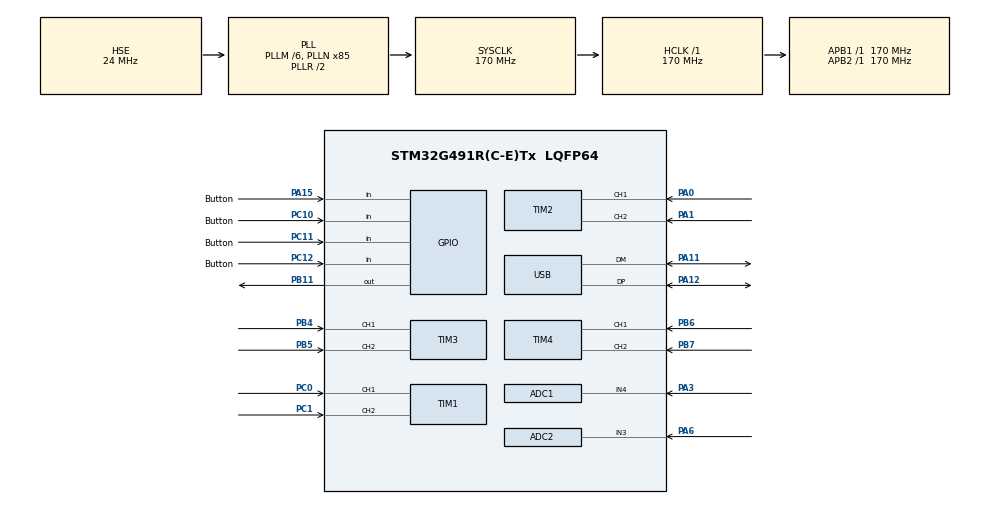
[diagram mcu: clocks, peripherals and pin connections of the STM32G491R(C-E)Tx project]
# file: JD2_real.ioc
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ADC1.Channel-6\#ChannelRegularConversion=ADC_CHANNEL_4
ADC1.ContinuousConvMode=DISABLE
ADC1.DMAContinuousRequests=ENABLE
ADC1.EOCSelection=ADC_EOC_SEQ_CONV
ADC1.ExternalTrigConv=ADC_EXTERNALTRIG_T6_TRGO
ADC1.NbrOfConversionFlag=1
ADC1.OffsetNumber-6\#ChannelRegularConversion=ADC_OFFSET_NONE
ADC1.Overrun=ADC_OVR_DATA_OVERWRITTEN
ADC1.Rank-6\#ChannelRegularConversion=1
ADC1.SamplingTime-6\#ChannelRegularConversion=ADC_SAMPLETIME_2CYCLES_5
ADC1.master=1
ADC2.Channel-4\#ChannelRegularConversion=ADC_CHANNEL_3
ADC2.ContinuousConvMode=DISABLE
ADC2.DMAContinuousRequests=ENABLE
ADC2.EOCSelection=ADC_EOC_SEQ_CONV
ADC2.ExternalTrigConv=ADC_EXTERNALTRIG_T6_TRGO
ADC2.NbrOfConversionFlag=1
ADC2.OffsetNumber-4\#ChannelRegularConversion=ADC_OFFSET_NONE
ADC2.Overrun=ADC_OVR_DATA_OVERWRITTEN
ADC2.Rank-4\#ChannelRegularConversion=1
ADC2.SamplingTime-4\#ChannelRegularConversion=ADC_SAMPLETIME_2CYCLES_5
Dma.ADC1.0.Direction=DMA_PERIPH_TO_MEMORY
Dma.ADC1.0.EventEnable=DISABLE
Dma.ADC1.0.Instance=DMA1_Channel1
Dma.ADC1.0.MemDataAlignment=DMA_MDATAALIGN_HALFWORD
Dma.ADC1.0.MemInc=DMA_MINC_ENABLE
Dma.ADC1.0.Mode=DMA_CIRCULAR
Dma.ADC1.0.PeriphDataAlignment=DMA_PDATAALIGN_HALFWORD
Dma.ADC1.0.PeriphInc=DMA_PINC_DISABLE
Dma.ADC1.0.Polarity=HAL_DMAMUX_REQ_GEN_RISING
Dma.ADC1.0.Priority=DMA_PRIORITY_LOW
Dma.ADC1.0.RequestNumber=1
Dma.ADC1.0.SignalID=NONE
Dma.ADC1.0.SyncEnable=DISABLE
Dma.ADC1.0.SyncPolarity=HAL_DMAMUX_SYNC_NO_EVENT
Dma.ADC1.0.SyncRequestNumber=1
Dma.ADC1.0.SyncSignalID=NONE
Dma.ADC2.1.Direction=DMA_PERIPH_TO_MEMORY
Dma.ADC2.1.EventEnable=DISABLE
Dma.ADC2.1.Instance=DMA1_Channel2
Dma.ADC2.1.MemDataAlignment=DMA_MDATAALIGN_HALFWORD
Dma.ADC2.1.MemInc=DMA_MINC_ENABLE
Dma.ADC2.1.Mode=DMA_CIRCULAR
Dma.ADC2.1.PeriphDataAlignment=DMA_PDATAALIGN_HALFWORD
Dma.ADC2.1.PeriphInc=DMA_PINC_DISABLE
Dma.ADC2.1.Polarity=HAL_DMAMUX_REQ_GEN_RISING
Dma.ADC2.1.Priority=DMA_PRIORITY_LOW
Dma.ADC2.1.RequestNumber=1
Dma.ADC2.1.SignalID=NONE
Dma.ADC2.1.SyncEnable=DISABLE
Dma.ADC2.1.SyncPolarity=HAL_DMAMUX_SYNC_NO_EVENT
Dma.ADC2.1.SyncRequestNumber=1
Dma.ADC2.1.SyncSignalID=NONE
Dma.Request0=ADC1
Dma.Request1=ADC2
Mcu.Family=STM32G4
Mcu.Name=STM32G491R(C-E)Tx
Mcu.Package=LQFP64
NVIC.DMA1_Channel1_IRQn=true\:0\:0\:false\:false\:true\:false\:true\:true
NVIC.DMA1_Channel2_IRQn=true\:0\:0\:false\:false\:true\:false\:true\:true
NVIC.PriorityGroup=NVIC_PRIORITYGROUP_4
NVIC.USB_LP_IRQn=true\:0\:0\:false\:false\:true\:false\:true\:true
PA0.GPIO_PuPd=GPIO_PULLUP
PA0.GPIO_Speed=GPIO_SPEED_FREQ_MEDIUM
PA0.Signal=S_TIM2_CH1
PA1.GPIO_PuPd=GPIO_PULLUP
PA1.GPIO_Speed=GPIO_SPEED_FREQ_MEDIUM
PA1.Signal=S_TIM2_CH2
PA11.Mode=Device
PA11.Signal=USB_DM
PA12.Mode=Device
PA12.Signal=USB_DP
PA13.Mode=Serial_Wire
PA13.Signal=SYS_JTMS-SWDIO
PA14.Mode=Serial_Wire
PA14.Signal=SYS_JTCK-SWCLK
PA15.GPIO_Label=Button
PA15.GPIO_Mode=GPIO_MODE_INPUT
PA15.GPIO_PuPd=GPIO_PULLUP
PA15.Signal=GPIO_Input
PA3.Mode=IN4-Single-Ended
PA3.Signal=ADC1_IN4
PA6.Mode=IN3-Single-Ended
PA6.Signal=ADC2_IN3
PB11.GPIO_PuPd=GPIO_PULLUP
PB11.PinState=GPIO_PIN_SET
PB11.Signal=GPIO_Output
PB4.GPIO_PuPd=GPIO_PULLUP
PB4.GPIO_Speed=GPIO_SPEED_FREQ_MEDIUM
PB4.Signal=S_TIM3_CH1
PB5.GPIO_PuPd=GPIO_PULLUP
PB5.GPIO_Speed=GPIO_SPEED_FREQ_MEDIUM
PB5.Signal=S_TIM3_CH2
PB6.GPIO_PuPd=GPIO_PULLUP
PB6.Signal=S_TIM4_CH1
PB7.GPIO_PuPd=GPIO_PULLUP
PB7.Signal=S_TIM4_CH2
PC0.GPIO_PuPd=GPIO_PULLUP
PC0.Signal=S_TIM1_CH1
PC1.GPIO_PuPd=GPIO_PULLUP
PC1.Signal=S_TIM1_CH2
PC10.GPIO_Label=Button
PC10.GPIO_Mode=GPIO_MODE_INPUT
PC10.GPIO_PuPd=GPIO_PULLUP
PC10.Signal=GPIO_Input
PC11.GPIO_Label=Button
PC11.GPIO_Mode=GPIO_MODE_INPUT
PC11.GPIO_PuPd=GPIO_PULLUP
PC11.Signal=GPIO_Input
PC12.GPIO_Label=Button
PC12.GPIO_Mode=GPIO_MODE_INPUT
PC12.GPIO_PuPd=GPIO_PULLUP
PC12.Signal=GPIO_Input
PF0-OSC_IN.Mode=HSE-External-Oscillator
PF0-OSC_IN.Signal=RCC_OSC_IN
PF1-OSC_OUT.Mode=HSE-External-Oscillator
PF1-OSC_OUT.Signal=RCC_OSC_OUT
ProjectManager.HeapSize=0x200
ProjectManager.StackSize=0x400
ProjectManager.TargetToolchain=CMake
RCC.ADC12Freq_Value=170000000
RCC.ADC345Freq_Value=170000000
RCC.AHBFreq_Value=170000000
RCC.APB1Freq_Value=170000000
RCC.APB1TimFreq_Value=170000000
RCC.APB2Freq_Value=170000000
RCC.APB2TimFreq_Value=170000000
RCC.CortexFreq_Value=170000000
RCC.EXTERNAL_CLOCK_VALUE=12288000
RCC.HCLKFreq_Value=170000000
RCC.HSE_VALUE=24000000
RCC.HSI48_VALUE=48000000
RCC.HSI_VALUE=16000000
RCC.LSE_VALUE=32768
RCC.PLLM=RCC_PLLM_DIV6
RCC.PLLN=85
RCC.PLLSourceVirtual=RCC_PLLSOURCE_HSE
RCC.SYSCLKFreq_VALUE=170000000
RCC.SYSCLKSource=RCC_SYSCLKSOURCE_PLLCLK
RCC.VCOOutputFreq_Value=340000000
SH.S_TIM1_CH1.0=TIM1_CH1,Encoder_Interface
SH.S_TIM1_CH2.0=TIM1_CH2,Encoder_Interface
SH.S_TIM2_CH1.0=TIM2_CH1,Encoder_Interface
SH.S_TIM2_CH2.0=TIM2_CH2,Encoder_Interface
SH.S_TIM3_CH1.0=TIM3_CH1,Encoder_Interface
SH.S_TIM3_CH2.0=TIM3_CH2,Encoder_Interface
SH.S_TIM4_CH1.0=TIM4_CH1,Encoder_Interface
SH.S_TIM4_CH2.0=TIM4_CH2,Encoder_Interface
TIM6.TIM_MasterOutputTrigger=TIM_TRGO_UPDATE
USB_DEVICE.CLASS_NAME_FS=CDC
USB_DEVICE.VirtualMode=Cdc
USB_DEVICE.VirtualModeFS=Cdc_FS
VP_SYS_VS_DBSignals.Mode=DisableDeadBatterySignals
VP_TIM6_VS_ClockSourceINT.Mode=Enable_Timer
VP_USB_DEVICE_VS_USB_DEVICE_CDC_FS.Mode=CDC_FS
board=custom

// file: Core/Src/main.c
/* USER CODE BEGIN Header */
/**
 ******************************************************************************
 * @file           : main.c
 * @brief          : Main program body
 ******************************************************************************
 * @attention
 *
 * Copyright (c) 2026 STMicroelectronics.
 * All rights reserved.
 *
 * This software is licensed under terms that can be found in the LICENSE file
 * in the root directory of this software component.
 * If no LICENSE file comes with this software, it is provided AS-IS.
 *
 ******************************************************************************
 */
/* USER CODE END Header */
#include "main.h"
#include "adc.h"
#include "dma.h"
#include "gpio.h"
#include "tim.h"
#include "usb_device.h"

/* USER CODE BEGIN Includes */
#include "buttons.h"
#include "scope_stream.h"
#include "usbd_cdc_if.h"
#include <encoder.h>
#include <stdbool.h>
#include <stdint.h>
#include <stdio.h>
#include <stdlib.h>
#include <stm32g4xx_hal.h>
#include <string.h>
/* USER CODE END Includes */

/* USER CODE BEGIN PV */
static const uint32_t kVdivOptions_mV[] = {100U,  200U,  500U,  1000U,
                                           2000U, 5000U, 10000U};
static const uint32_t kSdivOptions_ns[] = {
    1000U,     2000U,     5000U,     10000U,    20000U,   50000U,
    100000U,   200000U,   500000U,   1000000U,  2000000U, 5000000U,
    10000000U, 20000000U, 50000000U, 100000000U};
static const uint32_t kAdcFastSampleRateHz = 2833333U;
static const uint32_t kAdcMinSampleRateHz = 1000U;

static scope_cfg_t g_scope_cfg = {
    .ch1_enabled = 1U,
    .ch2_enabled = 1U,
    .ch1_vdiv_idx = 2U, // 1.00 V/div
    .ch2_vdiv_idx = 2U, // 1.00 V/div
    .sdiv_idx = 4U,     // 20 us/div
    // Trigger bytes: each encoder step maps to 16 ADC codes, so 0..255 ->
    // 0..4080.
    .trig_ch1_idx = 128U,
    .trig_ch2_idx = 128U,
    .trig_src = 0U, // start with CH1 trigger selected
};

static bool g_scope_cfg_dirty = true;
static bool g_btn1_prev = false;
static bool g_btn2_prev = false;
static bool g_btn4_prev = false;

static uint32_t s_last_heartbeat_ms = 0U;
static uint32_t lastPoll = 0;
static uint8_t s_last_sdiv_applied = 0xFFU;

/* USER CODE END PV */

void SystemClock_Config(void);

/* USER CODE BEGIN 0 */
// Apply a signed encoder delta to a menu index and clamp to valid bounds.
static int clamp_idx_with_delta(int current, int delta, int min, int max) {
  int next = current + delta;
  if (next < min) {
    next = min;
  } else if (next > max) {
    next = max;
  }
  return next;
}

// Return the TIM6 kernel clock frequency used to generate TRGO update events.
static uint32_t ScopeCtl_GetTim6ClockHz(void) {
  uint32_t pclk1 = HAL_RCC_GetPCLK1Freq();
  uint32_t ppre1_bits = RCC->CFGR & RCC_CFGR_PPRE1;
  if (ppre1_bits != RCC_CFGR_PPRE1_DIV1) {
    return pclk1 * 2U;
  }
  return pclk1;
}

// Choose an ADC trigger sample rate for current S/div:
// - keep max speed at fast timebases,
// - slow down at wide timebases so 10 divisions fit DMA history.
static uint32_t ScopeCtl_ComputeTargetSampleRateHz(uint8_t sdiv_idx) {
  uint64_t total_ns;
  uint64_t max_fit_rate;
  uint32_t target;

  if (sdiv_idx >= (sizeof(kSdivOptions_ns) / sizeof(kSdivOptions_ns[0]))) {
    sdiv_idx =
        (uint8_t)((sizeof(kSdivOptions_ns) / sizeof(kSdivOptions_ns[0])) - 1U);
  }
  total_ns = (uint64_t)kSdivOptions_ns[sdiv_idx] * 10ULL;
  max_fit_rate =
      ((uint64_t)SCOPE_STREAM_ADC_BUFFER_SAMPLES * 1000000000ULL) / total_ns;

  target = kAdcFastSampleRateHz;
  if (max_fit_rate < (uint64_t)target) {
    target = (uint32_t)max_fit_rate;
  }
  if (target < kAdcMinSampleRateHz) {
    target = kAdcMinSampleRateHz;
  }
  return target;
}

// Apply TIM6 PSC/ARR for a target ADC trigger rate and publish achieved rate
// to the stream module so time-span math remains accurate.
static void ScopeCtl_ApplyAdcSampleRateHz(uint32_t target_hz) {
  uint32_t tim_clk_hz;
  uint32_t psc_plus1;
  uint32_t arr_plus1;
  uint32_t achieved_hz;
  uint64_t denom;

  if (target_hz == 0U) {
    return;
  }

  tim_clk_hz = ScopeCtl_GetTim6ClockHz();
  denom = (uint64_t)target_hz * 65536ULL;
  psc_plus1 = (uint32_t)((((uint64_t)tim_clk_hz + denom - 1ULL) / denom));
  if (psc_plus1 < 1U) {
    psc_plus1 = 1U;
  }
  if (psc_plus1 > 65536U) {
    psc_plus1 = 65536U;
  }

  denom = (uint64_t)target_hz * (uint64_t)psc_plus1;
  arr_plus1 = (uint32_t)((((uint64_t)tim_clk_hz + denom - 1ULL) / denom));
  if (arr_plus1 < 2U) {
    arr_plus1 = 2U;
  }
  if (arr_plus1 > 65536U) {
    arr_plus1 = 65536U;
  }

  HAL_TIM_Base_Stop(&htim6);
  __HAL_TIM_SET_PRESCALER(&htim6, (uint32_t)(psc_plus1 - 1U));
  __HAL_TIM_SET_AUTORELOAD(&htim6, (uint32_t)(arr_plus1 - 1U));
  __HAL_TIM_SET_COUNTER(&htim6, 0U);
  __HAL_TIM_CLEAR_FLAG(&htim6, TIM_FLAG_UPDATE);
  htim6.Instance->EGR = TIM_EGR_UG;
  HAL_TIM_Base_Start(&htim6);

  achieved_hz = tim_clk_hz / (psc_plus1 * arr_plus1);
  ScopeStream_SetSampleRateHz(achieved_hz);
}

static void ScopeCtl_UpdateAdcTimingFromSdiv(void) {
  if (s_last_sdiv_applied == g_scope_cfg.sdiv_idx) {
    return;
  }
  ScopeCtl_ApplyAdcSampleRateHz(
      ScopeCtl_ComputeTargetSampleRateHz(g_scope_cfg.sdiv_idx));
  s_last_sdiv_applied = g_scope_cfg.sdiv_idx;
}

// USB CDC RX hook; command parsing can be implemented here later.
void ScopeCtl_OnUsbRx(const uint8_t *buf, uint32_t len) {
  (void)buf;
  (void)len;
}

// Apply front-panel inputs to config state:
// ENC1 -> CH1 V/div, ENC3 -> S/div, ENC4 -> CH2 V/div,
// BTN1/BTN4 press-edge toggles channel enable.
static void ScopeCtl_FromFrontPanel_1ms(void) {
  bool changed = false;

  if (g_enc1.delta != 0) {
    int max_idx =
        (int)(sizeof(kVdivOptions_mV) / sizeof(kVdivOptions_mV[0])) - 1;
    int next = clamp_idx_with_delta((int)g_scope_cfg.ch1_vdiv_idx,
                                    (int)g_enc1.delta, 0, max_idx);
    if ((uint8_t)next != g_scope_cfg.ch1_vdiv_idx) {
      g_scope_cfg.ch1_vdiv_idx = (uint8_t)next;
      changed = true;
    }
    g_enc1.delta = 0;
    g_enc1.dirty = false;
  }

  if (g_enc4.delta != 0) {
    int max_idx =
        (int)(sizeof(kVdivOptions_mV) / sizeof(kVdivOptions_mV[0])) - 1;
    int next = clamp_idx_with_delta((int)g_scope_cfg.ch2_vdiv_idx,
                                    (int)g_enc4.delta, 0, max_idx);
    if ((uint8_t)next != g_scope_cfg.ch2_vdiv_idx) {
      g_scope_cfg.ch2_vdiv_idx = (uint8_t)next;
      changed = true;
    }
    g_enc4.delta = 0;
    g_enc4.dirty = false;
  }

  if (g_enc2.delta != 0) {
    if (g_scope_cfg.trig_src == 0U) {
      int next = clamp_idx_with_delta((int)g_scope_cfg.trig_ch1_idx,
                                      (int)g_enc2.delta, 0, 255);
      if ((uint8_t)next != g_scope_cfg.trig_ch1_idx) {
        g_scope_cfg.trig_ch1_idx = (uint8_t)next;
        changed = true;
      }
    } else {
      int next = clamp_idx_with_delta((int)g_scope_cfg.trig_ch2_idx,
                                      (int)g_enc2.delta, 0, 255);
      if ((uint8_t)next != g_scope_cfg.trig_ch2_idx) {
        g_scope_cfg.trig_ch2_idx = (uint8_t)next;
        changed = true;
      }
    }
    g_enc2.delta = 0;
    g_enc2.dirty = false;
  }

  if (g_enc3.delta != 0) {
    int max_idx =
        (int)(sizeof(kSdivOptions_ns) / sizeof(kSdivOptions_ns[0])) - 1;
    int next = clamp_idx_with_delta((int)g_scope_cfg.sdiv_idx,
                                    (int)g_enc3.delta, 0, max_idx);
    if ((uint8_t)next != g_scope_cfg.sdiv_idx) {
      g_scope_cfg.sdiv_idx = (uint8_t)next;
      changed = true;
    }
    g_enc3.delta = 0;
    g_enc3.dirty = false;
  }

  // Toggle on press-edge.
  if (g_btn1.stable && !g_btn1_prev) {
    g_scope_cfg.ch1_enabled = (uint8_t)!g_scope_cfg.ch1_enabled;
    changed = true;
  }
  if (g_btn2.stable && !g_btn2_prev) {
    g_scope_cfg.trig_src = (uint8_t)!g_scope_cfg.trig_src;
    changed = true;
  }
  if (g_btn4.stable && !g_btn4_prev) {
    g_scope_cfg.ch2_enabled = (uint8_t)!g_scope_cfg.ch2_enabled;
    changed = true;
  }
  g_btn1_prev = g_btn1.stable;
  g_btn2_prev = g_btn2.stable;
  g_btn4_prev = g_btn4.stable;

  if (changed) {
    g_scope_cfg_dirty = true;
  }
}

// Debug helper: stream raw encoder counts/deltas every 10 ms.
void USB_Report_Encoders_10ms(void) {
  static uint32_t last = 0;
  uint32_t now = HAL_GetTick();
  if ((now - last) < 10) {
    return;
  }
  last = now;

  char msg[128];
  int n = snprintf(msg, sizeof(msg),
                   "e1:%ld\te2:%ld\te3:%ld\te4:%ld d:%d,%d,%d,%d\r\n",
                   (long)g_enc1.count, (long)g_enc2.count, (long)g_enc3.count,
                   (long)g_enc4.count, (int)g_enc1.delta, (int)g_enc2.delta,
                   (int)g_enc3.delta, (int)g_enc4.delta);
  g_enc1.dirty = g_enc2.dirty = g_enc3.dirty = g_enc4.dirty = false;
  g_enc1.delta = g_enc2.delta = g_enc3.delta = g_enc4.delta = 0;

  CDC_Transmit_FS((uint8_t *)msg, (uint16_t)n);
}

// Debug helper: stream debounced button states on change (max every 20 ms).
void USB_Report_Buttons_20ms(void) {
  static uint32_t last = 0;
  uint32_t now = HAL_GetTick();
  if (now - last < 20)
    return;
  last = now;

  // Only print if something changed (optional, but nice)
  if (!(g_btn1.changed || g_btn2.changed || g_btn3.changed || g_btn4.changed))
    return;

  char msg[80];
  int n = snprintf(msg, sizeof msg, "btn:%d,%d,%d,%d\r\n", (int)g_btn1.stable,
                   (int)g_btn2.stable, (int)g_btn3.stable, (int)g_btn4.stable);

  g_btn1.changed = g_btn2.changed = g_btn3.changed = g_btn4.changed = false;
  (void)CDC_Transmit_FS((uint8_t *)msg, (uint16_t)n);
}
/* USER CODE END 0 */

int main(void) {

  /* MCU Configuration--------------------------------------------------------*/

  /* Reset of all peripherals, Initializes the Flash interface and the Systick.
   */
  HAL_Init();

  /* Configure the system clock */
  SystemClock_Config();

  /* Initialize all configured peripherals */
  MX_GPIO_Init();
  MX_DMA_Init();
  MX_TIM1_Init();
  MX_ADC1_Init();
  MX_ADC2_Init();
  MX_TIM2_Init();
  MX_TIM3_Init();
  MX_TIM4_Init();
  MX_USB_Device_Init();
  MX_TIM6_Init();
  /* USER CODE BEGIN 2 */
  extern uint8_t CDC_Transmit_FS(uint8_t *Buf, uint16_t Len);
  HAL_ADCEx_Calibration_Start(&hadc1, ADC_SINGLE_ENDED);
  HAL_ADCEx_Calibration_Start(&hadc2, ADC_SINGLE_ENDED);
  Encoders_Init();
  Buttons_Init();
  ScopeStream_Init();
  ScopeCtl_UpdateAdcTimingFromSdiv();
  /* USER CODE END 2 */

  /* Infinite loop */
  /* USER CODE BEGIN WHILE */
  while (1) {
    if ((HAL_GetTick() - s_last_heartbeat_ms) >= 1U) {
      HAL_GPIO_TogglePin(GPIOB, GPIO_PIN_11);
      s_last_heartbeat_ms = HAL_GetTick();
    }

    uint32_t now = HAL_GetTick();
    if (now != lastPoll) {
      lastPoll = now;
      Encoders_Poll_1ms();
      Buttons_Poll_1ms();
      ScopeCtl_FromFrontPanel_1ms();
      ScopeCtl_UpdateAdcTimingFromSdiv();
    }
    ScopeStream_Task(&g_scope_cfg);
    /* USER CODE END WHILE */

  }
}

void SystemClock_Config(void) {
  RCC_OscInitTypeDef RCC_OscInitStruct = {0};
  RCC_ClkInitTypeDef RCC_ClkInitStruct = {0};

  /** Configure the main internal regulator output voltage
   */
  HAL_PWREx_ControlVoltageScaling(PWR_REGULATOR_VOLTAGE_SCALE1_BOOST);

  /** Initializes the RCC Oscillators according to the specified parameters
   * in the RCC_OscInitTypeDef structure.
   */
  RCC_OscInitStruct.OscillatorType =
      RCC_OSCILLATORTYPE_HSI48 | RCC_OSCILLATORTYPE_HSE;
  RCC_OscInitStruct.HSEState = RCC_HSE_ON;
  RCC_OscInitStruct.HSI48State = RCC_HSI48_ON;
  RCC_OscInitStruct.PLL.PLLState = RCC_PLL_ON;
  RCC_OscInitStruct.PLL.PLLSource = RCC_PLLSOURCE_HSE;
  RCC_OscInitStruct.PLL.PLLM = RCC_PLLM_DIV6;
  RCC_OscInitStruct.PLL.PLLN = 85;
  RCC_OscInitStruct.PLL.PLLP = RCC_PLLP_DIV2;
  RCC_OscInitStruct.PLL.PLLQ = RCC_PLLQ_DIV2;
  RCC_OscInitStruct.PLL.PLLR = RCC_PLLR_DIV2;
  if (HAL_RCC_OscConfig(&RCC_OscInitStruct) != HAL_OK) {
    Error_Handler();
  }

  /** Initializes the CPU, AHB and APB buses clocks
   */
  RCC_ClkInitStruct.ClockType = RCC_CLOCKTYPE_HCLK | RCC_CLOCKTYPE_SYSCLK |
                                RCC_CLOCKTYPE_PCLK1 | RCC_CLOCKTYPE_PCLK2;
  RCC_ClkInitStruct.SYSCLKSource = RCC_SYSCLKSOURCE_PLLCLK;
  RCC_ClkInitStruct.AHBCLKDivider = RCC_SYSCLK_DIV1;
  RCC_ClkInitStruct.APB1CLKDivider = RCC_HCLK_DIV1;
  RCC_ClkInitStruct.APB2CLKDivider = RCC_HCLK_DIV1;

  if (HAL_RCC_ClockConfig(&RCC_ClkInitStruct, FLASH_LATENCY_4) != HAL_OK) {
    Error_Handler();
  }
}

void Error_Handler(void) {
  __disable_irq();
  while (1) {
  }
}
#ifdef USE_FULL_ASSERT
/**
 * @brief  Reports the name of the source file and the source line number
 *         where the assert_param error has occurred.
 * @param  file: pointer to the source file name
 * @param  line: assert_param error line source number
 * @retval None
 */
void assert_failed(uint8_t *file, uint32_t line) {
  /* USER CODE BEGIN 6 */
  /* User can add his own implementation to report the file name and line
     number, ex: printf("Wrong parameters value: file %s on line %d\r\n", file,
     line) */
  /* USER CODE END 6 */
}
#endif /* USE_FULL_ASSERT */
